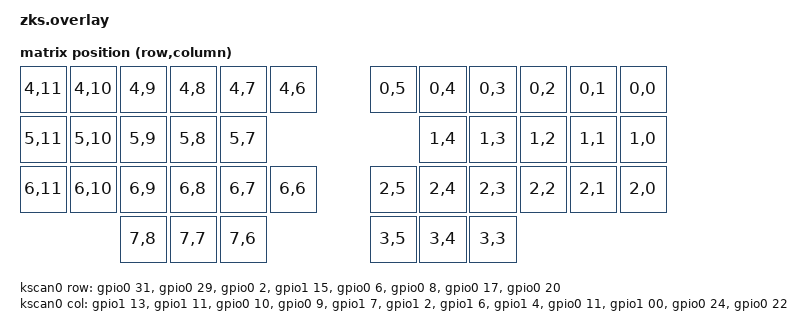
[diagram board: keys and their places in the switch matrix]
#include <dt-bindings/zmk/matrix_transform.h>

/ {
	chosen {
		zmk,kscan = &kscan0;
		zmk,matrix_transform = &default_transform;
	};

	default_transform: keymap_transform_0 {
		compatible = "zmk,matrix-transform";
		columns = <12>;
		rows = <8>;
		/*
		 * This map translates the physical matrix wiring (defined in kscan0)
		 * to the logical keymap layout.
		 *
		 * Keymap Layout:
		 * | Q | W | E | R | T | TAB |   | RET | Y | U | I | O | P |
		 * | A | S | D | F | G |     |   |     | H | J | K | L | ; |
		 * | Z | X | C | V | B | LWR |   | RAS | N | M | , | . | / |
		 *               |CTRL | GUI | SPC |   | BSPC| LS|ALT|
		 */
		map = <
/*L_HAND*/ RC(4,11) RC(4,10) RC(4,9) RC(4,8) RC(4,7) RC(4,6)  /*R_HAND*/ RC(0,5) RC(0,4) RC(0,3) RC(0,2) RC(0,1) RC(0,0)
/*L_HAND*/ RC(5,11) RC(5,10) RC(5,9) RC(5,8) RC(5,7)                  /*R_HAND*/ RC(1,4) RC(1,3) RC(1,2) RC(1,1) RC(1,0)
/*L_HAND*/ RC(6,11) RC(6,10) RC(6,9) RC(6,8) RC(6,7) RC(6,6)  /*R_HAND*/ RC(2,5) RC(2,4) RC(2,3) RC(2,2) RC(2,1) RC(2,0)
/*L_THUMB*/                     RC(7,8) RC(7,7) RC(7,6)  /*R_THUMB*/ RC(3,5) RC(3,4) RC(3,3)
		>;
	};

	kscan0: kscan {
		compatible = "zmk,kscan-gpio-matrix";
		label = "KSCAN";
		diode-direction = "col2row";
		row-gpios
			// Right Hand Rows
			= <&gpio0 31 (GPIO_ACTIVE_HIGH | GPIO_PULL_DOWN)> // Matrix Row 0 (Diagram #5 ROW)
			, <&gpio0 29 (GPIO_ACTIVE_HIGH | GPIO_PULL_DOWN)> // Matrix Row 1 (Diagram #6 ROW)
			, <&gpio0 2  (GPIO_ACTIVE_HIGH | GPIO_PULL_DOWN)> // Matrix Row 2 (Diagram #7 ROW)
			, <&gpio1 15 (GPIO_ACTIVE_HIGH | GPIO_PULL_DOWN)> // Matrix Row 3 (Diagram #8 ROW)
			// Left Hand Rows
			, <&gpio0 6  (GPIO_ACTIVE_HIGH | GPIO_PULL_DOWN)> // Matrix Row 4 (Diagram #1 ROW)
			, <&gpio0 8  (GPIO_ACTIVE_HIGH | GPIO_PULL_DOWN)> // Matrix Row 5 (Diagram #2 ROW)
			, <&gpio0 17 (GPIO_ACTIVE_HIGH | GPIO_PULL_DOWN)> // Matrix Row 6 (Diagram #3 ROW)
			, <&gpio0 20 (GPIO_ACTIVE_HIGH | GPIO_PULL_DOWN)> // Matrix Row 7 (Diagram #4 ROW)
			;
		col-gpios
			// Right Hand Columns (in reverse order)
			= <&gpio1 13 GPIO_ACTIVE_HIGH> // Matrix Col 0 (Diagram #12 COL)
			, <&gpio1 11 GPIO_ACTIVE_HIGH> // Matrix Col 1 (Diagram #11 COL)
			, <&gpio0 10 GPIO_ACTIVE_HIGH> // Matrix Col 2 (Diagram #10 COL)
			, <&gpio0 9  GPIO_ACTIVE_HIGH> // Matrix Col 3 (Diagram #9 COL)
			, <&gpio1 7  GPIO_ACTIVE_HIGH> // Matrix Col 4 (Diagram #8 COL)
			, <&gpio1 2  GPIO_ACTIVE_HIGH> // Matrix Col 5 (Diagram #7 COL)
			// Left Hand Columns (in reverse order)
			, <&gpio1 6  GPIO_ACTIVE_HIGH> // Matrix Col 6 (Diagram #6 COL)
			, <&gpio1 4  GPIO_ACTIVE_HIGH> // Matrix Col 7 (Diagram #5 COL)
			, <&gpio0 11 GPIO_ACTIVE_HIGH> // Matrix Col 8 (Diagram #4 COL)
			, <&gpio1 00 GPIO_ACTIVE_HIGH> // Matrix Col 9 (Diagram #3 COL)
			, <&gpio0 24 GPIO_ACTIVE_HIGH> // Matrix Col 10 (Diagram #2 COL)
			, <&gpio0 22 GPIO_ACTIVE_HIGH> // Matrix Col 11 (Diagram #1 COL)
			;
	};
};
